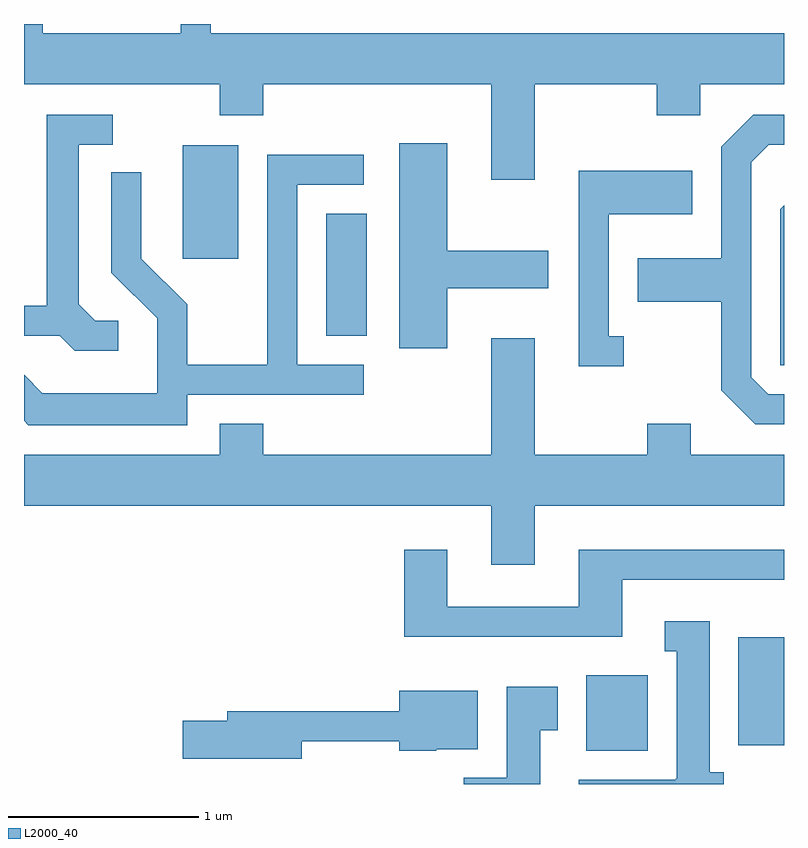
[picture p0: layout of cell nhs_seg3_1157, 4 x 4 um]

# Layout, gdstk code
import gdstk
lib = gdstk.Library(unit=1e-6, precision=1e-09)
def R(c, l, rs):  # rectangles x0, y0, x1, y1
    for r in rs: c.add(gdstk.rectangle(r[:2], r[2:], *l))
def P(c, l, *ps):  # polygons
    for p in ps: c.add(gdstk.Polygon(p, *l))
L2000_40 = (2000, 40)

nhs_seg3_1157 = lib.new_cell('nhs_seg3_1157')
R(nhs_seg3_1157, L2000_40, [(222.571,1118.066,222.894,1118.464), (223.371,1118.096,223.611,1118.664), (221.201,1120.251,221.414,1120.894), (220.446,1120.656,220.739,1121.254)])
P(nhs_seg3_1157, L2000_40, [(222.299,1121.576),(222.941,1121.576),(222.941,1121.411),(223.169,1121.411),(223.169,1121.576),(223.611,1121.576),(223.611,1121.844),(220.594,1121.844),(220.594,1121.892),(220.436,1121.892),(220.436,1121.844),(219.709,1121.844),(219.709,1121.892),(219.611,1121.892),(219.611,1121.576),(220.641,1121.576),(220.641,1121.411),(220.869,1121.411),(220.869,1121.576),(222.071,1121.576),(222.071,1121.071),(222.299,1121.071)],
  [(220.108,1120.329),(219.987,1120.329),(219.899,1120.417),(219.899,1121.256),(220.078,1121.256),(220.078,1121.414),(219.731,1121.414),(219.731,1120.409),(219.611,1120.409),(219.611,1120.251),(219.799,1120.251),(219.879,1120.171),(220.108,1120.171)],
  [(223.611,1119.944),(223.527,1119.944),(223.439,1120.032),(223.439,1121.164),(223.532,1121.256),(223.611,1121.256),(223.611,1121.414),(223.449,1121.414),(223.281,1121.247),(223.281,1120.659),(222.841,1120.659),(222.841,1120.431),(223.281,1120.431),(223.281,1119.964),(223.459,1119.786),(223.611,1119.786)],
  [(221.839,1120.501),(222.369,1120.501),(222.369,1120.699),(221.839,1120.699),(221.839,1121.264),(221.586,1121.264),(221.586,1120.186),(221.839,1120.186)],
  [(220.469,1119.941),(221.398,1119.941),(221.398,1120.099),(221.049,1120.099),(221.049,1121.046),(221.398,1121.046),(221.398,1121.204),(220.891,1121.204),(220.891,1120.099),(220.469,1120.099),(220.469,1120.417),(220.229,1120.657),(220.229,1121.113),(220.071,1121.113),(220.071,1120.584),(220.311,1120.344),(220.311,1119.949),(219.707,1119.949),(219.611,1120.045),(219.611,1119.804),(219.634,1119.781),(220.469,1119.781)],
  [(222.768,1120.249),(222.689,1120.249),(222.689,1120.891),(223.129,1120.891),(223.129,1121.119),(222.531,1121.119),(222.531,1120.091),(222.768,1120.091)],
  [(223.611,1120.937),(223.591,1120.917),(223.591,1120.096),(223.611,1120.096)],
  [(222.299,1119.356),(223.611,1119.356),(223.611,1119.624),(223.119,1119.624),(223.119,1119.789),(222.891,1119.789),(222.891,1119.624),(222.299,1119.624),(222.299,1120.239),(222.071,1120.239),(222.071,1119.624),(220.869,1119.624),(220.869,1119.789),(220.641,1119.789),(220.641,1119.624),(219.611,1119.624),(219.611,1119.356),(222.071,1119.356),(222.071,1119.046),(222.299,1119.046)],
  [(222.759,1118.966),(223.611,1118.966),(223.611,1119.124),(222.531,1119.124),(222.531,1118.824),(221.839,1118.824),(221.839,1119.124),(221.611,1119.124),(221.611,1118.666),(222.759,1118.666)],
  [(223.294,1117.954),(223.219,1117.954),(223.219,1118.749),(222.983,1118.749),(222.983,1118.591),(223.046,1118.591),(223.046,1117.92),(223.04,1117.92),(223.04,1117.914),(222.531,1117.914),(222.531,1117.892),(223.294,1117.892)],
  [(222.329,1118.176),(222.419,1118.176),(222.419,1118.404),(222.151,1118.404),(222.151,1117.924),(221.926,1117.924),(221.926,1117.892),(222.329,1117.892)],
  [(221.074,1118.116),(221.586,1118.116),(221.586,1118.066),(221.78,1118.066),(221.78,1118.076),(221.999,1118.076),(221.999,1118.384),(221.586,1118.384),(221.586,1118.274),(220.681,1118.274),(220.681,1118.224),(220.446,1118.224),(220.446,1118.026),(221.074,1118.026)])

lib.write_gds('nhs_seg3_1157.gds')
